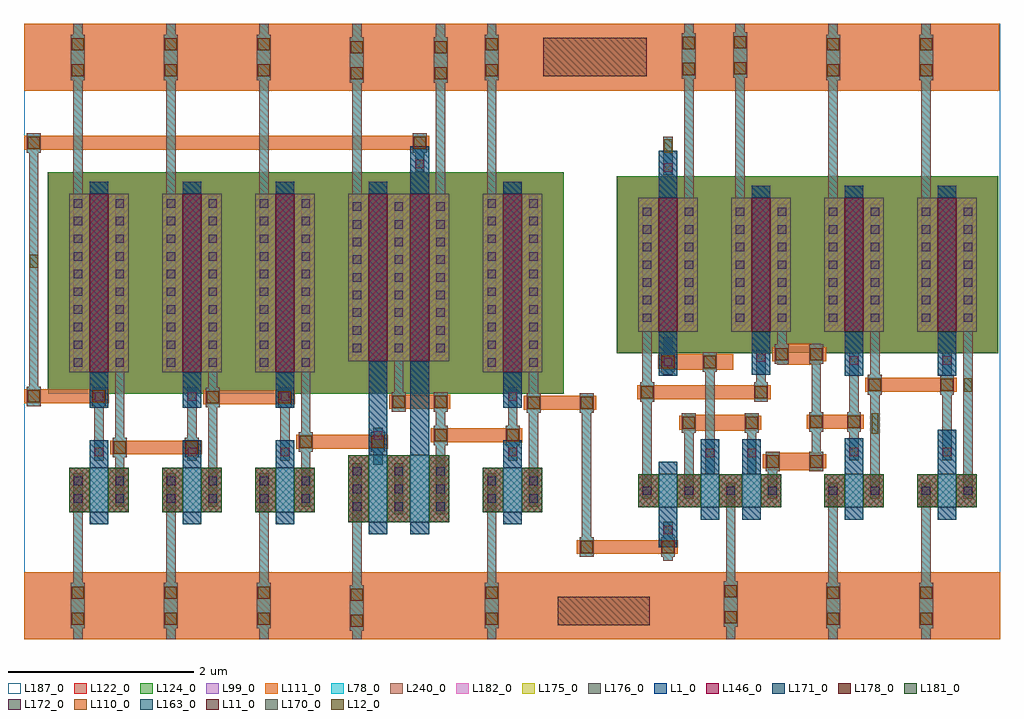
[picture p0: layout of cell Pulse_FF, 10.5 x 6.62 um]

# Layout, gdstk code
import gdstk
lib = gdstk.Library(unit=1e-6, precision=1e-09)
def R(c, l, rs):  # rectangles x0, y0, x1, y1
    for r in rs: c.add(gdstk.rectangle(r[:2], r[2:], *l))
def A(c, l, x, y, w, h, nx, ny, dx, dy):  # array of equal rectangles
    R(c, l, [(x+i*dx, y+j*dy, x+i*dx+w, y+j*dy+h) for i in range(nx) for j in range(ny)])
def P(c, l, *ps):  # polygons
    for p in ps: c.add(gdstk.Polygon(p, *l))
L1_0 = (1, 0)
L11_0 = (11, 0)
L12_0 = (12, 0)
L78_0 = (78, 0)
L99_0 = (99, 0)
L110_0 = (110, 0)
L111_0 = (111, 0)
L122_0 = (122, 0)
L124_0 = (124, 0)
L146_0 = (146, 0)
L163_0 = (163, 0)
L170_0 = (170, 0)
L171_0 = (171, 0)
L172_0 = (172, 0)
L175_0 = (175, 0)
L176_0 = (176, 0)
L178_0 = (178, 0)
L181_0 = (181, 0)
L182_0 = (182, 0)
L187_0 = (187, 0)
L240_0 = (240, 0)

pulse_ff = lib.new_cell('Pulse_FF')
A(pulse_ff, L1_0, 20.98, -8.115, 0.2, 0.905, 3, 1, 1, 0)
A(pulse_ff, L1_0, 20.98, -6.86, 0.2, 2.43, 3, 1, 1, 0)
R(pulse_ff, L1_0, [(27.1,-8.36,27.3,-7.445), (23.98,-8.225,24.18,-4.43), (24.43,-8.225,24.63,-4.05), (25.43,-8.115,25.63,-7.21), (27.55,-8.065,27.75,-7.2), (28,-8.065,28.2,-7.2), (29.1,-8.065,29.3,-7.19), (30.1,-8.065,30.3,-7.1), (25.43,-6.86,25.63,-4.43), (27.1,-6.52,27.3,-4.1), (29.1,-6.52,29.3,-4.475), (30.1,-6.52,30.3,-4.475), (28.1,-6.51,28.3,-4.475)])
R(pulse_ff, L11_0, [(26.015,-9.2,27.005,-8.895), (25.86,-3.3,26.97,-2.885)])
R(pulse_ff, L12_0, [(29.39,-7.14,29.46,-6.92), (30.385,-6.69,30.465,-6.545), (20.335,-5.355,20.425,-5.215), (27.16,-4.12,27.245,-3.975)])
R(pulse_ff, L78_0, [(24.255,-8.01,24.355,-7.46), (30.375,-7.84,30.475,-4.67), (27.15,-4.365,27.25,-3.95)])
P(pulse_ff, L78_0, [(20.455,-3.91),(20.455,-4.12),(20.43,-4.12),(20.43,-6.635),(20.455,-6.635),(20.455,-6.845),(20.305,-6.845),(20.305,-6.635),(20.33,-6.635),(20.33,-4.12),(20.305,-4.12),(20.305,-3.91)],
  [(21.155,-6.635),(21.155,-6.845),(21.13,-6.845),(21.13,-7.43),(21.03,-7.43),(21.03,-6.845),(21.005,-6.845),(21.005,-6.635)],
  [(20.905,-7.565),(20.905,-8.745),(20.93,-8.745),(20.93,-9.235),(20.905,-9.235),(20.905,-9.35),(20.805,-9.35),(20.805,-9.235),(20.78,-9.235),(20.78,-8.745),(20.805,-8.745),(20.805,-7.565)],
  [(21.355,-4.58),(21.355,-7.185),(21.38,-7.185),(21.38,-7.395),(21.355,-7.395),(21.355,-7.925),(21.255,-7.925),(21.255,-7.395),(21.23,-7.395),(21.23,-7.185),(21.255,-7.185),(21.255,-4.58)],
  [(20.905,-2.735),(20.905,-2.85),(20.93,-2.85),(20.93,-3.34),(20.905,-3.34),(20.905,-6.46),(20.805,-6.46),(20.805,-3.34),(20.78,-3.34),(20.78,-2.85),(20.805,-2.85),(20.805,-2.735)],
  [(21.905,-7.565),(21.905,-8.745),(21.93,-8.745),(21.93,-9.235),(21.905,-9.235),(21.905,-9.35),(21.805,-9.35),(21.805,-9.235),(21.78,-9.235),(21.78,-8.745),(21.805,-8.745),(21.805,-7.565)],
  [(22.13,-6.635),(22.13,-7.185),(22.155,-7.185),(22.155,-7.395),(22.13,-7.395),(22.13,-7.43),(22.03,-7.43),(22.03,-7.395),(22.005,-7.395),(22.005,-7.185),(22.03,-7.185),(22.03,-6.635)],
  [(22.355,-4.58),(22.355,-6.645),(22.38,-6.645),(22.38,-6.855),(22.355,-6.855),(22.355,-7.925),(22.255,-7.925),(22.255,-6.855),(22.23,-6.855),(22.23,-6.645),(22.255,-6.645),(22.255,-4.58)],
  [(21.905,-2.735),(21.905,-2.85),(21.93,-2.85),(21.93,-3.34),(21.905,-3.34),(21.905,-6.46),(21.805,-6.46),(21.805,-3.34),(21.78,-3.34),(21.78,-2.85),(21.805,-2.85),(21.805,-2.735)],
  [(22.905,-2.735),(22.905,-2.85),(22.93,-2.85),(22.93,-3.34),(22.905,-3.34),(22.905,-6.46),(22.805,-6.46),(22.805,-3.34),(22.78,-3.34),(22.78,-2.85),(22.805,-2.85),(22.805,-2.735)],
  [(23.355,-4.58),(23.355,-7.125),(23.38,-7.125),(23.38,-7.335),(23.355,-7.335),(23.355,-7.925),(23.255,-7.925),(23.255,-7.335),(23.23,-7.335),(23.23,-7.125),(23.255,-7.125),(23.255,-4.58)],
  [(22.905,-7.565),(22.905,-8.745),(22.93,-8.745),(22.93,-9.235),(22.905,-9.235),(22.905,-9.35),(22.805,-9.35),(22.805,-9.235),(22.78,-9.235),(22.78,-8.745),(22.805,-8.745),(22.805,-7.565)],
  [(23.13,-6.635),(23.13,-6.645),(23.155,-6.645),(23.155,-6.855),(23.13,-6.855),(23.13,-7.43),(23.03,-7.43),(23.03,-6.855),(23.005,-6.855),(23.005,-6.645),(23.03,-6.645),(23.03,-6.635)],
  [(23.905,-7.46),(23.905,-8.77),(23.93,-8.77),(23.93,-9.26),(23.905,-9.26),(23.905,-9.35),(23.805,-9.35),(23.805,-9.26),(23.78,-9.26),(23.78,-8.77),(23.805,-8.77),(23.805,-7.46)],
  [(23.905,-2.735),(23.905,-2.88),(23.93,-2.88),(23.93,-3.37),(23.905,-3.37),(23.905,-6.305),(23.805,-6.305),(23.805,-3.37),(23.78,-3.37),(23.78,-2.88),(23.805,-2.88),(23.805,-2.735)],
  [(24.355,-4.615),(24.355,-6.695),(24.38,-6.695),(24.38,-6.905),(24.23,-6.905),(24.23,-6.695),(24.255,-6.695),(24.255,-4.615)],
  [(24.13,-7.075),(24.13,-7.125),(24.155,-7.125),(24.155,-7.335),(24.13,-7.335),(24.13,-7.475),(24.03,-7.475),(24.03,-7.335),(24.005,-7.335),(24.005,-7.125),(24.03,-7.125),(24.03,-7.075)],
  [(24.605,-3.91),(24.605,-4.12),(24.58,-4.12),(24.58,-4.325),(24.48,-4.325),(24.48,-4.12),(24.455,-4.12),(24.455,-3.91)],
  [(25.355,-7.565),(25.355,-8.745),(25.38,-8.745),(25.38,-9.235),(25.355,-9.235),(25.355,-9.35),(25.255,-9.35),(25.255,-9.235),(25.23,-9.235),(25.23,-8.745),(25.255,-8.745),(25.255,-7.565)],
  [(25.355,-2.735),(25.355,-2.85),(25.38,-2.85),(25.38,-3.34),(25.355,-3.34),(25.355,-6.46),(25.255,-6.46),(25.255,-3.34),(25.23,-3.34),(25.23,-2.85),(25.255,-2.85),(25.255,-2.735)],
  [(24.83,-6.695),(24.83,-6.905),(24.805,-6.905),(24.805,-7.055),(24.83,-7.055),(24.83,-7.265),(24.805,-7.265),(24.805,-8.01),(24.705,-8.01),(24.705,-7.265),(24.68,-7.265),(24.68,-7.055),(24.705,-7.055),(24.705,-6.905),(24.68,-6.905),(24.68,-6.695)],
  [(24.805,-2.735),(24.805,-2.88),(24.83,-2.88),(24.83,-3.37),(24.805,-3.37),(24.805,-6.305),(24.705,-6.305),(24.705,-3.37),(24.68,-3.37),(24.68,-2.88),(24.705,-2.88),(24.705,-2.735)],
  [(25.58,-6.635),(25.58,-7.055),(25.605,-7.055),(25.605,-7.265),(25.58,-7.265),(25.58,-7.43),(25.48,-7.43),(25.48,-7.265),(25.455,-7.265),(25.455,-7.055),(25.48,-7.055),(25.48,-6.635)],
  [(25.805,-4.58),(25.805,-6.705),(25.83,-6.705),(25.83,-6.915),(25.805,-6.915),(25.805,-7.925),(25.705,-7.925),(25.705,-6.915),(25.68,-6.915),(25.68,-6.705),(25.705,-6.705),(25.705,-4.58)],
  [(26.4,-6.705),(26.4,-6.915),(26.375,-6.915),(26.375,-8.255),(26.4,-8.255),(26.4,-8.465),(26.25,-8.465),(26.25,-8.255),(26.275,-8.255),(26.275,-6.915),(26.25,-6.915),(26.25,-6.705)],
  [(27.25,-6.1),(27.25,-6.265),(27.275,-6.265),(27.275,-6.475),(27.25,-6.475),(27.25,-6.51),(27.15,-6.51),(27.15,-6.475),(27.125,-6.475),(27.125,-6.265),(27.15,-6.265),(27.15,-6.1)],
  [(27.25,-8.09),(27.25,-8.255),(27.275,-8.255),(27.275,-8.465),(27.25,-8.465),(27.25,-8.505),(27.15,-8.505),(27.15,-8.465),(27.125,-8.465),(27.125,-8.255),(27.15,-8.255),(27.15,-8.09)],
  [(27.475,-2.735),(27.475,-2.835),(27.5,-2.835),(27.5,-3.325),(27.475,-3.325),(27.475,-5.98),(27.375,-5.98),(27.375,-3.325),(27.35,-3.325),(27.35,-2.835),(27.375,-2.835),(27.375,-2.735)],
  [(27.025,-4.67),(27.025,-6.59),(27.05,-6.59),(27.05,-6.8),(27.025,-6.8),(27.025,-7.84),(26.925,-7.84),(26.925,-6.8),(26.9,-6.8),(26.9,-6.59),(26.925,-6.59),(26.925,-4.67)],
  [(27.5,-6.92),(27.5,-7.13),(27.475,-7.13),(27.475,-7.84),(27.375,-7.84),(27.375,-7.13),(27.35,-7.13),(27.35,-6.92)],
  [(27.725,-6.265),(27.725,-6.475),(27.7,-6.475),(27.7,-7.575),(27.6,-7.575),(27.6,-6.475),(27.575,-6.475),(27.575,-6.265)],
  [(28.475,-4.67),(28.475,-6.18),(28.5,-6.18),(28.5,-6.39),(28.475,-6.39),(28.475,-6.4),(28.375,-6.4),(28.375,-6.39),(28.35,-6.39),(28.35,-6.18),(28.375,-6.18),(28.375,-4.67)],
  [(28.175,-6.92),(28.175,-7.13),(28.15,-7.13),(28.15,-7.575),(28.05,-7.575),(28.05,-7.13),(28.025,-7.13),(28.025,-6.92)],
  [(28.25,-6.24),(28.25,-6.59),(28.275,-6.59),(28.275,-6.8),(28.125,-6.8),(28.125,-6.59),(28.15,-6.59),(28.15,-6.24)],
  [(28.025,-2.735),(28.025,-2.825),(28.05,-2.825),(28.05,-3.315),(28.025,-3.315),(28.025,-5.98),(27.925,-5.98),(27.925,-3.315),(27.9,-3.315),(27.9,-2.825),(27.925,-2.825),(27.925,-2.735)],
  [(27.925,-7.67),(27.925,-8.73),(27.95,-8.73),(27.95,-9.22),(27.925,-9.22),(27.925,-9.35),(27.825,-9.35),(27.825,-9.22),(27.8,-9.22),(27.8,-8.73),(27.825,-8.73),(27.825,-7.67)],
  [(28.4,-7.335),(28.4,-7.545),(28.375,-7.545),(28.375,-7.84),(28.275,-7.84),(28.275,-7.545),(28.25,-7.545),(28.25,-7.335)],
  [(29.25,-6.27),(29.25,-6.91),(29.275,-6.91),(29.275,-7.12),(29.25,-7.12),(29.25,-7.425),(29.15,-7.425),(29.15,-7.12),(29.125,-7.12),(29.125,-6.91),(29.15,-6.91),(29.15,-6.27)],
  [(29.025,-2.735),(29.025,-2.85),(29.05,-2.85),(29.05,-3.34),(29.025,-3.34),(29.025,-5.98),(28.925,-5.98),(28.925,-3.34),(28.9,-3.34),(28.9,-2.85),(28.925,-2.85),(28.925,-2.735)],
  [(29.025,-7.67),(29.025,-8.745),(29.05,-8.745),(29.05,-9.235),(29.025,-9.235),(29.025,-9.35),(28.925,-9.35),(28.925,-9.235),(28.9,-9.235),(28.9,-8.745),(28.925,-8.745),(28.925,-7.67)],
  [(29.475,-4.67),(29.475,-6.51),(29.5,-6.51),(29.5,-6.72),(29.475,-6.72),(29.475,-7.84),(29.375,-7.84),(29.375,-6.72),(29.35,-6.72),(29.35,-6.51),(29.375,-6.51),(29.375,-4.67)],
  [(28.845,-6.175),(28.845,-6.18),(28.87,-6.18),(28.87,-6.39),(28.845,-6.39),(28.845,-6.91),(28.87,-6.91),(28.87,-7.12),(28.845,-7.12),(28.845,-7.335),(28.87,-7.335),(28.87,-7.545),(28.72,-7.545),(28.72,-7.335),(28.745,-7.335),(28.745,-7.12),(28.72,-7.12),(28.72,-6.91),(28.745,-6.91),(28.745,-6.39),(28.72,-6.39),(28.72,-6.18),(28.745,-6.18),(28.745,-6.175)],
  [(30.25,-6.27),(30.25,-6.51),(30.275,-6.51),(30.275,-6.72),(30.25,-6.72),(30.25,-7.425),(30.15,-7.425),(30.15,-6.72),(30.125,-6.72),(30.125,-6.51),(30.15,-6.51),(30.15,-6.27)],
  [(30.025,-2.735),(30.025,-2.85),(30.05,-2.85),(30.05,-3.34),(30.025,-3.34),(30.025,-5.98),(29.925,-5.98),(29.925,-3.34),(29.9,-3.34),(29.9,-2.85),(29.925,-2.85),(29.925,-2.735)],
  [(30.025,-7.67),(30.025,-8.745),(30.05,-8.745),(30.05,-9.235),(30.025,-9.235),(30.025,-9.35),(29.925,-9.35),(29.925,-9.235),(29.9,-9.235),(29.9,-8.745),(29.925,-8.745),(29.925,-7.67)])
R(pulse_ff, L99_0, [(20.275,-9.35,30.77,-8.63), (26.22,-8.435,27.305,-8.285), (21.2,-7.365,22.185,-7.215), (23.2,-7.305,24.185,-7.155), (24.65,-7.235,25.635,-7.085), (28.69,-7.09,29.305,-6.94), (25.65,-6.885,26.43,-6.735), (24.2,-6.875,24.86,-6.725), (22.2,-6.825,23.185,-6.675), (20.275,-6.815,21.185,-6.665), (26.87,-6.77,28.305,-6.62), (29.32,-6.69,30.305,-6.54), (20.275,-4.09,24.635,-3.94), (20.275,-3.455,30.76,-2.735)])
P(pulse_ff, L99_0, [(27.9,-6.285),(27.9,-6.455),(27.15,-6.455),(27.15,-6.445),(27.095,-6.445),(27.095,-6.295),(27.15,-6.295),(27.15,-6.285)],
  [(28.15,-6.94),(28.15,-6.95),(28.205,-6.95),(28.205,-7.1),(28.15,-7.1),(28.15,-7.11),(27.375,-7.11),(27.375,-7.1),(27.32,-7.1),(27.32,-6.95),(27.375,-6.95),(27.375,-6.94)],
  [(28.845,-7.345),(28.845,-7.365),(28.9,-7.365),(28.9,-7.515),(28.845,-7.515),(28.845,-7.535),(28.275,-7.535),(28.275,-7.515),(28.22,-7.515),(28.22,-7.365),(28.275,-7.365),(28.275,-7.345)],
  [(28.845,-6.175),(28.845,-6.21),(28.9,-6.21),(28.9,-6.36),(28.845,-6.36),(28.845,-6.4),(28.375,-6.4),(28.375,-6.36),(28.32,-6.36),(28.32,-6.21),(28.375,-6.21),(28.375,-6.175)])
A(pulse_ff, L110_0, 20.79, -9.195, 0.13, 0.13, 3, 2, 1, 0.28)
A(pulse_ff, L110_0, 20.79, -3.3, 0.13, 0.13, 3, 2, 1, 0.28)
R(pulse_ff, L110_0, [(23.79,-9.22,23.92,-9.09), (25.24,-9.195,25.37,-9.065), (28.91,-9.195,29.04,-9.065), (29.91,-9.195,30.04,-9.065), (27.81,-9.18,27.94,-9.05), (23.79,-8.94,23.92,-8.81), (25.24,-8.915,25.37,-8.785), (28.91,-8.915,29.04,-8.785), (29.91,-8.915,30.04,-8.785), (27.81,-8.9,27.94,-8.77), (26.26,-8.425,26.39,-8.295), (27.135,-8.425,27.265,-8.295), (28.26,-7.505,28.39,-7.375), (28.73,-7.505,28.86,-7.375), (21.24,-7.355,21.37,-7.225), (22.015,-7.355,22.145,-7.225), (23.24,-7.295,23.37,-7.165), (24.015,-7.295,24.145,-7.165), (24.69,-7.225,24.82,-7.095), (25.465,-7.225,25.595,-7.095), (27.36,-7.09,27.49,-6.96), (28.035,-7.09,28.165,-6.96), (28.73,-7.08,28.86,-6.95), (29.135,-7.08,29.265,-6.95), (25.69,-6.875,25.82,-6.745), (26.26,-6.875,26.39,-6.745), (24.24,-6.865,24.37,-6.735), (24.69,-6.865,24.82,-6.735), (22.24,-6.815,22.37,-6.685), (23.015,-6.815,23.145,-6.685), (20.315,-6.805,20.445,-6.675), (21.015,-6.805,21.145,-6.675), (26.91,-6.76,27.04,-6.63), (28.135,-6.76,28.265,-6.63), (29.36,-6.68,29.49,-6.55), (30.135,-6.68,30.265,-6.55), (27.135,-6.435,27.265,-6.305), (27.585,-6.435,27.715,-6.305), (28.36,-6.35,28.49,-6.22), (28.73,-6.35,28.86,-6.22), (20.315,-4.08,20.445,-3.95), (24.465,-4.08,24.595,-3.95), (23.79,-3.33,23.92,-3.2), (24.69,-3.33,24.82,-3.2), (25.24,-3.3,25.37,-3.17), (28.91,-3.3,29.04,-3.17), (29.91,-3.3,30.04,-3.17), (27.36,-3.285,27.49,-3.155), (27.91,-3.275,28.04,-3.145), (23.79,-3.05,23.92,-2.92), (24.69,-3.05,24.82,-2.92), (25.24,-3.02,25.37,-2.89), (28.91,-3.02,29.04,-2.89), (29.91,-3.02,30.04,-2.89), (27.36,-3.005,27.49,-2.875), (27.91,-2.995,28.04,-2.865)])
R(pulse_ff, L111_0, [(20.275,-9.35,30.77,-8.63), (26.22,-8.435,27.305,-8.285), (21.2,-7.365,22.185,-7.215), (23.2,-7.305,24.185,-7.155), (24.65,-7.235,25.635,-7.085), (28.69,-7.09,29.305,-6.94), (25.65,-6.885,26.43,-6.735), (24.2,-6.875,24.86,-6.725), (22.2,-6.825,23.185,-6.675), (20.275,-6.815,21.185,-6.665), (26.87,-6.77,28.305,-6.62), (29.32,-6.69,30.305,-6.54), (20.275,-4.09,24.635,-3.94), (20.275,-3.455,30.76,-2.735)])
P(pulse_ff, L111_0, [(27.9,-6.285),(27.9,-6.455),(27.15,-6.455),(27.15,-6.445),(27.095,-6.445),(27.095,-6.295),(27.15,-6.295),(27.15,-6.285)],
  [(28.15,-6.94),(28.15,-6.95),(28.205,-6.95),(28.205,-7.1),(28.15,-7.1),(28.15,-7.11),(27.375,-7.11),(27.375,-7.1),(27.32,-7.1),(27.32,-6.95),(27.375,-6.95),(27.375,-6.94)],
  [(28.845,-7.345),(28.845,-7.365),(28.9,-7.365),(28.9,-7.515),(28.845,-7.515),(28.845,-7.535),(28.275,-7.535),(28.275,-7.515),(28.22,-7.515),(28.22,-7.365),(28.275,-7.365),(28.275,-7.345)],
  [(28.845,-6.175),(28.845,-6.21),(28.9,-6.21),(28.9,-6.36),(28.845,-6.36),(28.845,-6.4),(28.375,-6.4),(28.375,-6.36),(28.32,-6.36),(28.32,-6.21),(28.375,-6.21),(28.375,-6.175)])
R(pulse_ff, L122_0, [(20.53,-6.71,26.08,-4.33), (26.65,-6.275,30.75,-4.375)])
R(pulse_ff, L124_0, [(20.53,-6.71,26.08,-4.33), (26.65,-6.275,30.75,-4.375)])
A(pulse_ff, L146_0, 20.98, -6.48, 0.2, 1.92, 3, 1, 1, 0)
A(pulse_ff, L146_0, 27.1, -6.045, 0.2, 1.44, 4, 1, 1, 0)
R(pulse_ff, L146_0, [(25.43,-6.48,25.63,-4.56), (23.98,-6.36,24.18,-4.56), (24.43,-6.36,24.63,-4.56)])
A(pulse_ff, L163_0, 20.98, -7.985, 0.2, 0.48, 3, 1, 1, 0)
A(pulse_ff, L163_0, 27.1, -7.935, 0.2, 0.36, 3, 1, 0.45, 0)
R(pulse_ff, L163_0, [(23.98,-8.095,24.18,-7.375), (24.43,-8.095,24.63,-7.375), (25.43,-7.985,25.63,-7.505), (29.1,-7.935,29.3,-7.575), (30.1,-7.935,30.3,-7.575)])
A(pulse_ff, L170_0, 21.035, -7.385, 0.09, 0.09, 3, 2, 1, 0.6)
R(pulse_ff, L170_0, [(27.155,-8.22,27.245,-8.13), (27.605,-7.395,27.695,-7.305), (28.055,-7.395,28.145,-7.305), (25.485,-7.385,25.575,-7.295), (29.155,-7.385,29.245,-7.295), (30.155,-7.385,30.245,-7.295), (24.035,-7.205,24.125,-7.115), (25.485,-6.785,25.575,-6.695), (27.155,-6.415,27.245,-6.325), (29.155,-6.4,29.245,-6.31), (30.155,-6.4,30.245,-6.31), (28.155,-6.37,28.245,-6.28), (27.155,-4.325,27.245,-4.235), (24.485,-4.285,24.575,-4.195)])
A(pulse_ff, L171_0, 20.98, -8.115, 0.2, 0.13, 3, 1, 1, 0)
A(pulse_ff, L171_0, 20.98, -7.505, 0.2, 0.295, 3, 1, 1, 0)
A(pulse_ff, L171_0, 20.98, -6.86, 0.2, 0.38, 3, 1, 1, 0)
A(pulse_ff, L171_0, 28.1, -4.605, 0.2, 0.13, 3, 1, 1, 0)
A(pulse_ff, L171_0, 20.98, -4.56, 0.2, 0.13, 4, 1, 1, 0)
R(pulse_ff, L171_0, [(27.1,-8.36,27.3,-7.935), (23.98,-8.225,24.18,-8.095), (24.43,-8.225,24.63,-8.095), (25.43,-8.115,25.63,-7.985), (27.55,-8.065,27.75,-7.935), (28,-8.065,28.2,-7.935), (29.1,-8.065,29.3,-7.935), (30.1,-8.065,30.3,-7.935), (27.1,-7.575,27.3,-7.445), (27.55,-7.575,27.75,-7.2), (28,-7.575,28.2,-7.2), (29.1,-7.575,29.3,-7.19), (30.1,-7.575,30.3,-7.1), (25.43,-7.505,25.63,-7.21), (23.98,-7.375,24.18,-6.36), (24.43,-7.375,24.63,-6.36), (25.43,-6.86,25.63,-6.48), (27.1,-6.52,27.3,-6.045), (29.1,-6.52,29.3,-6.045), (30.1,-6.52,30.3,-6.045), (28.1,-6.51,28.3,-6.045), (27.1,-4.605,27.3,-4.1), (24.43,-4.56,24.63,-4.05), (25.43,-4.56,25.63,-4.43)])
A(pulse_ff, L172_0, 23.81, -7.97, 0.09, 0.09, 3, 3, 0.45, 0.19)
A(pulse_ff, L172_0, 26.93, -7.8, 0.09, 0.09, 4, 1, 0.45, 0)
A(pulse_ff, L172_0, 20.81, -6.42, 0.09, 0.09, 1, 10, 0, 0.19)
A(pulse_ff, L172_0, 21.26, -6.42, 0.09, 0.09, 1, 10, 0, 0.19)
A(pulse_ff, L172_0, 21.81, -6.42, 0.09, 0.09, 1, 10, 0, 0.19)
A(pulse_ff, L172_0, 22.26, -6.42, 0.09, 0.09, 1, 10, 0, 0.19)
A(pulse_ff, L172_0, 22.81, -6.42, 0.09, 0.09, 1, 10, 0, 0.19)
A(pulse_ff, L172_0, 23.26, -6.42, 0.09, 0.09, 1, 10, 0, 0.19)
A(pulse_ff, L172_0, 25.26, -6.42, 0.09, 0.09, 1, 10, 0, 0.19)
A(pulse_ff, L172_0, 25.71, -6.42, 0.09, 0.09, 1, 10, 0, 0.19)
A(pulse_ff, L172_0, 23.81, -6.265, 0.09, 0.09, 3, 9, 0.45, 0.19)
A(pulse_ff, L172_0, 26.93, -5.94, 0.09, 0.09, 1, 7, 0, 0.19)
A(pulse_ff, L172_0, 27.38, -5.94, 0.09, 0.09, 1, 7, 0, 0.19)
A(pulse_ff, L172_0, 27.93, -5.94, 0.09, 0.09, 1, 7, 0, 0.19)
A(pulse_ff, L172_0, 28.38, -5.94, 0.09, 0.09, 1, 7, 0, 0.19)
A(pulse_ff, L172_0, 28.93, -5.94, 0.09, 0.09, 1, 7, 0, 0.19)
A(pulse_ff, L172_0, 29.38, -5.94, 0.09, 0.09, 1, 7, 0, 0.19)
A(pulse_ff, L172_0, 29.93, -5.94, 0.09, 0.09, 1, 7, 0, 0.19)
A(pulse_ff, L172_0, 30.38, -5.94, 0.09, 0.09, 1, 7, 0, 0.19)
R(pulse_ff, L172_0, [(20.81,-7.885,20.9,-7.795), (21.26,-7.885,21.35,-7.795), (21.81,-7.885,21.9,-7.795), (22.26,-7.885,22.35,-7.795), (22.81,-7.885,22.9,-7.795), (23.26,-7.885,23.35,-7.795), (25.26,-7.885,25.35,-7.795), (25.71,-7.885,25.8,-7.795), (28.93,-7.8,29.02,-7.71), (29.38,-7.8,29.47,-7.71), (29.93,-7.8,30.02,-7.71), (30.38,-7.8,30.47,-7.71), (20.81,-7.695,20.9,-7.605), (21.26,-7.695,21.35,-7.605), (21.81,-7.695,21.9,-7.605), (22.26,-7.695,22.35,-7.605), (22.81,-7.695,22.9,-7.605), (23.26,-7.695,23.35,-7.605), (25.26,-7.695,25.35,-7.605), (25.71,-7.695,25.8,-7.605)])
R(pulse_ff, L175_0, [(20.76,-6.48,20.98,-4.56), (21.18,-6.48,21.4,-4.56), (21.76,-6.48,21.98,-4.56), (22.18,-6.48,22.4,-4.56), (22.76,-6.48,22.98,-4.56), (23.18,-6.48,23.4,-4.56), (25.21,-6.48,25.43,-4.56), (25.63,-6.48,25.85,-4.56), (23.76,-6.36,23.98,-4.56), (24.18,-6.36,24.43,-4.56), (24.63,-6.36,24.85,-4.56), (26.88,-6.045,27.1,-4.605), (27.3,-6.045,27.52,-4.605), (27.88,-6.045,28.1,-4.605), (28.3,-6.045,28.52,-4.605), (28.88,-6.045,29.1,-4.605), (29.3,-6.045,29.52,-4.605), (29.88,-6.045,30.1,-4.605), (30.3,-6.045,30.52,-4.605)])
R(pulse_ff, L176_0, [(20.76,-6.48,20.98,-4.56), (21.18,-6.48,21.4,-4.56), (21.76,-6.48,21.98,-4.56), (22.18,-6.48,22.4,-4.56), (22.76,-6.48,22.98,-4.56), (23.18,-6.48,23.4,-4.56), (25.21,-6.48,25.43,-4.56), (25.63,-6.48,25.85,-4.56), (23.76,-6.36,23.98,-4.56), (24.18,-6.36,24.43,-4.56), (24.63,-6.36,24.85,-4.56), (26.88,-6.045,27.1,-4.605), (27.3,-6.045,27.52,-4.605), (27.88,-6.045,28.1,-4.605), (28.3,-6.045,28.52,-4.605), (28.88,-6.045,29.1,-4.605), (29.3,-6.045,29.52,-4.605), (29.88,-6.045,30.1,-4.605), (30.3,-6.045,30.52,-4.605)])
R(pulse_ff, L178_0, [(23.76,-8.095,23.98,-7.375), (24.18,-8.095,24.43,-7.375), (24.63,-8.095,24.85,-7.375), (20.76,-7.985,20.98,-7.505), (21.18,-7.985,21.4,-7.505), (21.76,-7.985,21.98,-7.505), (22.18,-7.985,22.4,-7.505), (22.76,-7.985,22.98,-7.505), (23.18,-7.985,23.4,-7.505), (25.21,-7.985,25.43,-7.505), (25.63,-7.985,25.85,-7.505), (26.88,-7.935,27.1,-7.575), (27.3,-7.935,27.55,-7.575), (27.75,-7.935,28,-7.575), (28.2,-7.935,28.42,-7.575), (28.88,-7.935,29.1,-7.575), (29.3,-7.935,29.52,-7.575), (29.88,-7.935,30.1,-7.575), (30.3,-7.935,30.52,-7.575)])
R(pulse_ff, L181_0, [(23.76,-8.095,23.98,-7.375), (24.18,-8.095,24.43,-7.375), (24.63,-8.095,24.85,-7.375), (20.76,-7.985,20.98,-7.505), (21.18,-7.985,21.4,-7.505), (21.76,-7.985,21.98,-7.505), (22.18,-7.985,22.4,-7.505), (22.76,-7.985,22.98,-7.505), (23.18,-7.985,23.4,-7.505), (25.21,-7.985,25.43,-7.505), (25.63,-7.985,25.85,-7.505), (26.88,-7.935,27.1,-7.575), (27.3,-7.935,27.55,-7.575), (27.75,-7.935,28,-7.575), (28.2,-7.935,28.42,-7.575), (28.88,-7.935,29.1,-7.575), (29.3,-7.935,29.52,-7.575), (29.88,-7.935,30.1,-7.575), (30.3,-7.935,30.52,-7.575)])
R(pulse_ff, L182_0, [(23.76,-8.095,23.98,-7.375), (24.18,-8.095,24.43,-7.375), (24.63,-8.095,24.85,-7.375), (20.76,-7.985,20.98,-7.505), (21.18,-7.985,21.4,-7.505), (21.76,-7.985,21.98,-7.505), (22.18,-7.985,22.4,-7.505), (22.76,-7.985,22.98,-7.505), (23.18,-7.985,23.4,-7.505), (25.21,-7.985,25.43,-7.505), (25.63,-7.985,25.85,-7.505), (26.88,-7.935,27.1,-7.575), (27.3,-7.935,27.55,-7.575), (27.75,-7.935,28,-7.575), (28.2,-7.935,28.42,-7.575), (28.88,-7.935,29.1,-7.575), (29.3,-7.935,29.52,-7.575), (29.88,-7.935,30.1,-7.575), (30.3,-7.935,30.52,-7.575), (20.76,-6.48,20.98,-4.56), (21.18,-6.48,21.4,-4.56), (21.76,-6.48,21.98,-4.56), (22.18,-6.48,22.4,-4.56), (22.76,-6.48,22.98,-4.56), (23.18,-6.48,23.4,-4.56), (25.21,-6.48,25.43,-4.56), (25.63,-6.48,25.85,-4.56), (23.76,-6.36,23.98,-4.56), (24.18,-6.36,24.43,-4.56), (24.63,-6.36,24.85,-4.56), (26.88,-6.045,27.1,-4.605), (27.3,-6.045,27.52,-4.605), (27.88,-6.045,28.1,-4.605), (28.3,-6.045,28.52,-4.605), (28.88,-6.045,29.1,-4.605), (29.3,-6.045,29.52,-4.605), (29.88,-6.045,30.1,-4.605), (30.3,-6.045,30.52,-4.605)])
R(pulse_ff, L187_0, [(20.275,-9.35,30.77,-2.735)])
R(pulse_ff, L240_0, [(24.255,-8.01,24.355,-7.46), (30.375,-7.84,30.475,-4.67), (27.15,-4.365,27.25,-3.95)])
P(pulse_ff, L240_0, [(20.455,-3.91),(20.455,-4.12),(20.43,-4.12),(20.43,-6.635),(20.455,-6.635),(20.455,-6.845),(20.305,-6.845),(20.305,-6.635),(20.33,-6.635),(20.33,-4.12),(20.305,-4.12),(20.305,-3.91)],
  [(21.155,-6.635),(21.155,-6.845),(21.13,-6.845),(21.13,-7.43),(21.03,-7.43),(21.03,-6.845),(21.005,-6.845),(21.005,-6.635)],
  [(20.905,-7.565),(20.905,-8.745),(20.93,-8.745),(20.93,-9.235),(20.905,-9.235),(20.905,-9.35),(20.805,-9.35),(20.805,-9.235),(20.78,-9.235),(20.78,-8.745),(20.805,-8.745),(20.805,-7.565)],
  [(21.355,-4.58),(21.355,-7.185),(21.38,-7.185),(21.38,-7.395),(21.355,-7.395),(21.355,-7.925),(21.255,-7.925),(21.255,-7.395),(21.23,-7.395),(21.23,-7.185),(21.255,-7.185),(21.255,-4.58)],
  [(20.905,-2.735),(20.905,-2.85),(20.93,-2.85),(20.93,-3.34),(20.905,-3.34),(20.905,-6.46),(20.805,-6.46),(20.805,-3.34),(20.78,-3.34),(20.78,-2.85),(20.805,-2.85),(20.805,-2.735)],
  [(21.905,-7.565),(21.905,-8.745),(21.93,-8.745),(21.93,-9.235),(21.905,-9.235),(21.905,-9.35),(21.805,-9.35),(21.805,-9.235),(21.78,-9.235),(21.78,-8.745),(21.805,-8.745),(21.805,-7.565)],
  [(22.13,-6.635),(22.13,-7.185),(22.155,-7.185),(22.155,-7.395),(22.13,-7.395),(22.13,-7.43),(22.03,-7.43),(22.03,-7.395),(22.005,-7.395),(22.005,-7.185),(22.03,-7.185),(22.03,-6.635)],
  [(22.355,-4.58),(22.355,-6.645),(22.38,-6.645),(22.38,-6.855),(22.355,-6.855),(22.355,-7.925),(22.255,-7.925),(22.255,-6.855),(22.23,-6.855),(22.23,-6.645),(22.255,-6.645),(22.255,-4.58)],
  [(21.905,-2.735),(21.905,-2.85),(21.93,-2.85),(21.93,-3.34),(21.905,-3.34),(21.905,-6.46),(21.805,-6.46),(21.805,-3.34),(21.78,-3.34),(21.78,-2.85),(21.805,-2.85),(21.805,-2.735)],
  [(22.905,-2.735),(22.905,-2.85),(22.93,-2.85),(22.93,-3.34),(22.905,-3.34),(22.905,-6.46),(22.805,-6.46),(22.805,-3.34),(22.78,-3.34),(22.78,-2.85),(22.805,-2.85),(22.805,-2.735)],
  [(23.355,-4.58),(23.355,-7.125),(23.38,-7.125),(23.38,-7.335),(23.355,-7.335),(23.355,-7.925),(23.255,-7.925),(23.255,-7.335),(23.23,-7.335),(23.23,-7.125),(23.255,-7.125),(23.255,-4.58)],
  [(22.905,-7.565),(22.905,-8.745),(22.93,-8.745),(22.93,-9.235),(22.905,-9.235),(22.905,-9.35),(22.805,-9.35),(22.805,-9.235),(22.78,-9.235),(22.78,-8.745),(22.805,-8.745),(22.805,-7.565)],
  [(23.13,-6.635),(23.13,-6.645),(23.155,-6.645),(23.155,-6.855),(23.13,-6.855),(23.13,-7.43),(23.03,-7.43),(23.03,-6.855),(23.005,-6.855),(23.005,-6.645),(23.03,-6.645),(23.03,-6.635)],
  [(23.905,-7.46),(23.905,-8.77),(23.93,-8.77),(23.93,-9.26),(23.905,-9.26),(23.905,-9.35),(23.805,-9.35),(23.805,-9.26),(23.78,-9.26),(23.78,-8.77),(23.805,-8.77),(23.805,-7.46)],
  [(23.905,-2.735),(23.905,-2.88),(23.93,-2.88),(23.93,-3.37),(23.905,-3.37),(23.905,-6.305),(23.805,-6.305),(23.805,-3.37),(23.78,-3.37),(23.78,-2.88),(23.805,-2.88),(23.805,-2.735)],
  [(24.355,-4.615),(24.355,-6.695),(24.38,-6.695),(24.38,-6.905),(24.23,-6.905),(24.23,-6.695),(24.255,-6.695),(24.255,-4.615)],
  [(24.13,-7.075),(24.13,-7.125),(24.155,-7.125),(24.155,-7.335),(24.13,-7.335),(24.13,-7.475),(24.03,-7.475),(24.03,-7.335),(24.005,-7.335),(24.005,-7.125),(24.03,-7.125),(24.03,-7.075)],
  [(24.605,-3.91),(24.605,-4.12),(24.58,-4.12),(24.58,-4.325),(24.48,-4.325),(24.48,-4.12),(24.455,-4.12),(24.455,-3.91)],
  [(25.355,-7.565),(25.355,-8.745),(25.38,-8.745),(25.38,-9.235),(25.355,-9.235),(25.355,-9.35),(25.255,-9.35),(25.255,-9.235),(25.23,-9.235),(25.23,-8.745),(25.255,-8.745),(25.255,-7.565)],
  [(25.355,-2.735),(25.355,-2.85),(25.38,-2.85),(25.38,-3.34),(25.355,-3.34),(25.355,-6.46),(25.255,-6.46),(25.255,-3.34),(25.23,-3.34),(25.23,-2.85),(25.255,-2.85),(25.255,-2.735)],
  [(24.83,-6.695),(24.83,-6.905),(24.805,-6.905),(24.805,-7.055),(24.83,-7.055),(24.83,-7.265),(24.805,-7.265),(24.805,-8.01),(24.705,-8.01),(24.705,-7.265),(24.68,-7.265),(24.68,-7.055),(24.705,-7.055),(24.705,-6.905),(24.68,-6.905),(24.68,-6.695)],
  [(24.805,-2.735),(24.805,-2.88),(24.83,-2.88),(24.83,-3.37),(24.805,-3.37),(24.805,-6.305),(24.705,-6.305),(24.705,-3.37),(24.68,-3.37),(24.68,-2.88),(24.705,-2.88),(24.705,-2.735)],
  [(25.58,-6.635),(25.58,-7.055),(25.605,-7.055),(25.605,-7.265),(25.58,-7.265),(25.58,-7.43),(25.48,-7.43),(25.48,-7.265),(25.455,-7.265),(25.455,-7.055),(25.48,-7.055),(25.48,-6.635)],
  [(25.805,-4.58),(25.805,-6.705),(25.83,-6.705),(25.83,-6.915),(25.805,-6.915),(25.805,-7.925),(25.705,-7.925),(25.705,-6.915),(25.68,-6.915),(25.68,-6.705),(25.705,-6.705),(25.705,-4.58)],
  [(26.4,-6.705),(26.4,-6.915),(26.375,-6.915),(26.375,-8.255),(26.4,-8.255),(26.4,-8.465),(26.25,-8.465),(26.25,-8.255),(26.275,-8.255),(26.275,-6.915),(26.25,-6.915),(26.25,-6.705)],
  [(27.25,-6.1),(27.25,-6.265),(27.275,-6.265),(27.275,-6.475),(27.25,-6.475),(27.25,-6.51),(27.15,-6.51),(27.15,-6.475),(27.125,-6.475),(27.125,-6.265),(27.15,-6.265),(27.15,-6.1)],
  [(27.25,-8.09),(27.25,-8.255),(27.275,-8.255),(27.275,-8.465),(27.25,-8.465),(27.25,-8.505),(27.15,-8.505),(27.15,-8.465),(27.125,-8.465),(27.125,-8.255),(27.15,-8.255),(27.15,-8.09)],
  [(27.475,-2.735),(27.475,-2.835),(27.5,-2.835),(27.5,-3.325),(27.475,-3.325),(27.475,-5.98),(27.375,-5.98),(27.375,-3.325),(27.35,-3.325),(27.35,-2.835),(27.375,-2.835),(27.375,-2.735)],
  [(27.025,-4.67),(27.025,-6.59),(27.05,-6.59),(27.05,-6.8),(27.025,-6.8),(27.025,-7.84),(26.925,-7.84),(26.925,-6.8),(26.9,-6.8),(26.9,-6.59),(26.925,-6.59),(26.925,-4.67)],
  [(27.5,-6.92),(27.5,-7.13),(27.475,-7.13),(27.475,-7.84),(27.375,-7.84),(27.375,-7.13),(27.35,-7.13),(27.35,-6.92)],
  [(27.725,-6.265),(27.725,-6.475),(27.7,-6.475),(27.7,-7.575),(27.6,-7.575),(27.6,-6.475),(27.575,-6.475),(27.575,-6.265)],
  [(28.475,-4.67),(28.475,-6.18),(28.5,-6.18),(28.5,-6.39),(28.475,-6.39),(28.475,-6.4),(28.375,-6.4),(28.375,-6.39),(28.35,-6.39),(28.35,-6.18),(28.375,-6.18),(28.375,-4.67)],
  [(28.175,-6.92),(28.175,-7.13),(28.15,-7.13),(28.15,-7.575),(28.05,-7.575),(28.05,-7.13),(28.025,-7.13),(28.025,-6.92)],
  [(28.25,-6.24),(28.25,-6.59),(28.275,-6.59),(28.275,-6.8),(28.125,-6.8),(28.125,-6.59),(28.15,-6.59),(28.15,-6.24)],
  [(28.025,-2.735),(28.025,-2.825),(28.05,-2.825),(28.05,-3.315),(28.025,-3.315),(28.025,-5.98),(27.925,-5.98),(27.925,-3.315),(27.9,-3.315),(27.9,-2.825),(27.925,-2.825),(27.925,-2.735)],
  [(27.925,-7.67),(27.925,-8.73),(27.95,-8.73),(27.95,-9.22),(27.925,-9.22),(27.925,-9.35),(27.825,-9.35),(27.825,-9.22),(27.8,-9.22),(27.8,-8.73),(27.825,-8.73),(27.825,-7.67)],
  [(28.4,-7.335),(28.4,-7.545),(28.375,-7.545),(28.375,-7.84),(28.275,-7.84),(28.275,-7.545),(28.25,-7.545),(28.25,-7.335)],
  [(29.25,-6.27),(29.25,-6.91),(29.275,-6.91),(29.275,-7.12),(29.25,-7.12),(29.25,-7.425),(29.15,-7.425),(29.15,-7.12),(29.125,-7.12),(29.125,-6.91),(29.15,-6.91),(29.15,-6.27)],
  [(29.025,-2.735),(29.025,-2.85),(29.05,-2.85),(29.05,-3.34),(29.025,-3.34),(29.025,-5.98),(28.925,-5.98),(28.925,-3.34),(28.9,-3.34),(28.9,-2.85),(28.925,-2.85),(28.925,-2.735)],
  [(29.025,-7.67),(29.025,-8.745),(29.05,-8.745),(29.05,-9.235),(29.025,-9.235),(29.025,-9.35),(28.925,-9.35),(28.925,-9.235),(28.9,-9.235),(28.9,-8.745),(28.925,-8.745),(28.925,-7.67)],
  [(29.475,-4.67),(29.475,-6.51),(29.5,-6.51),(29.5,-6.72),(29.475,-6.72),(29.475,-7.84),(29.375,-7.84),(29.375,-6.72),(29.35,-6.72),(29.35,-6.51),(29.375,-6.51),(29.375,-4.67)],
  [(28.845,-6.175),(28.845,-6.18),(28.87,-6.18),(28.87,-6.39),(28.845,-6.39),(28.845,-6.91),(28.87,-6.91),(28.87,-7.12),(28.845,-7.12),(28.845,-7.335),(28.87,-7.335),(28.87,-7.545),(28.72,-7.545),(28.72,-7.335),(28.745,-7.335),(28.745,-7.12),(28.72,-7.12),(28.72,-6.91),(28.745,-6.91),(28.745,-6.39),(28.72,-6.39),(28.72,-6.18),(28.745,-6.18),(28.745,-6.175)],
  [(30.25,-6.27),(30.25,-6.51),(30.275,-6.51),(30.275,-6.72),(30.25,-6.72),(30.25,-7.425),(30.15,-7.425),(30.15,-6.72),(30.125,-6.72),(30.125,-6.51),(30.15,-6.51),(30.15,-6.27)],
  [(30.025,-2.735),(30.025,-2.85),(30.05,-2.85),(30.05,-3.34),(30.025,-3.34),(30.025,-5.98),(29.925,-5.98),(29.925,-3.34),(29.9,-3.34),(29.9,-2.85),(29.925,-2.85),(29.925,-2.735)],
  [(30.025,-7.67),(30.025,-8.745),(30.05,-8.745),(30.05,-9.235),(30.025,-9.235),(30.025,-9.35),(29.925,-9.35),(29.925,-9.235),(29.9,-9.235),(29.9,-8.745),(29.925,-8.745),(29.925,-7.67)])

lib.write_gds('Pulse_FF.gds')
